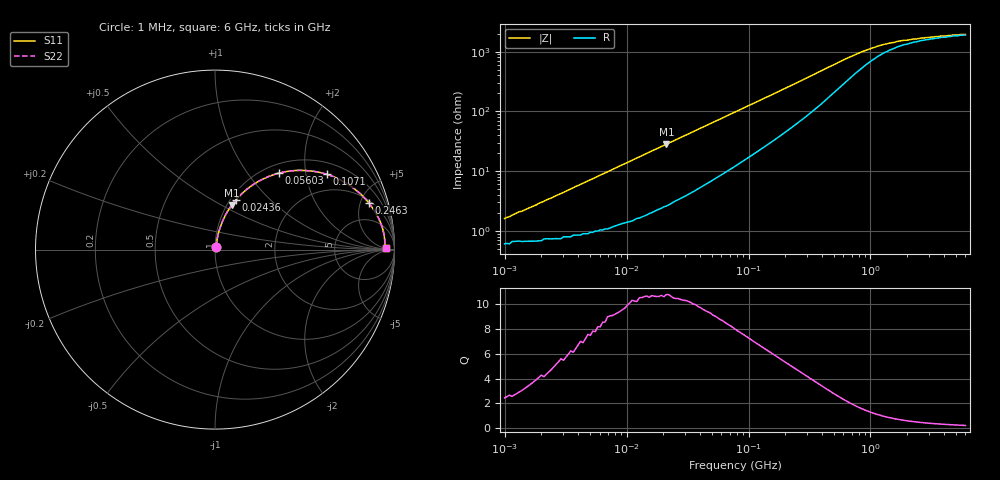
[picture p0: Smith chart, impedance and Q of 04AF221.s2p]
# MHz S MA R 50
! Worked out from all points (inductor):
!   189 points, 1 MHz to 6 GHz, reference 50 ohm
!   read as one part in series: L = 233 nH near 1.383 MHz
!   highest Q = 10.8 at 21.2 MHz (marker M1), where L = 212 nH
!   S11 on the Smith chart (normalised r, x): 1 MHz: 1.01, +0.03; 24.36 MHz: 1.06, +0.64; 56.03 MHz: 1.16, +1.42; 107.1 MHz: 1.37, +2.64; 246.3 MHz: 2.22, +5.86; 6 GHz: 39, +8
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1  0.016 66.3  0.994 -0.9  0.994 -0.9  0.016 66.3
1.047  0.017 67.0  0.994 -0.9  0.994 -0.9  0.017 67.0
1.097  0.017 67.8  0.994 -0.9  0.994 -0.9  0.017 67.8
1.32  0.021 70.4  0.993 -1.1  0.993 -1.1  0.021 70.4
1.383  0.021 71.0  0.993 -1.2  0.993 -1.2  0.021 71.0
1.825  0.027 74.0  0.993 -1.5  0.993 -1.5  0.027 74.0
4.396  0.062 78.4  0.989 -3.5  0.989 -3.5  0.062 78.4
9.655  0.13 76.7  0.978 -7.5  0.978 -7.5  0.13 76.7
18.454  0.235 71.1  0.95 -13.6  0.95 -13.6  0.235 71.1
21.202  0.266 69.3  0.94 -15.4  0.94 -15.4  0.266 69.3
24.359  0.299 67.3  0.926 -17.3  0.926 -17.3  0.299 67.3
36.943  0.418 59.7  0.868 -24.6  0.868 -24.6  0.418 59.7
56.027  0.554 50.2  0.773 -33.4  0.773 -33.4  0.554 50.2
77.46  0.659 42.0  0.675 -40.9  0.675 -40.9  0.659 42.0
107.091  0.751 33.9  0.564 -48.1  0.564 -48.1  0.751 33.9
162.413  0.839 24.6  0.422 -55.8  0.422 -55.8  0.839 24.6
246.314  0.895 17.0  0.299 -61.1  0.299 -61.1  0.895 17.0
340.538  0.92 12.5  0.223 -63.0  0.223 -63.0  0.92 12.5
859.204  0.946 4.5  0.094 -52.6  0.094 -52.6  0.946 4.5
1429.415  0.947 2.5  0.068 -37.9  0.068 -37.9  0.947 2.5
2608.635  0.948 1.3  0.056 -23.3  0.056 -23.3  0.948 1.3
6000  0.952 0.6  0.049 -11.9  0.049 -11.9  0.952 0.6
